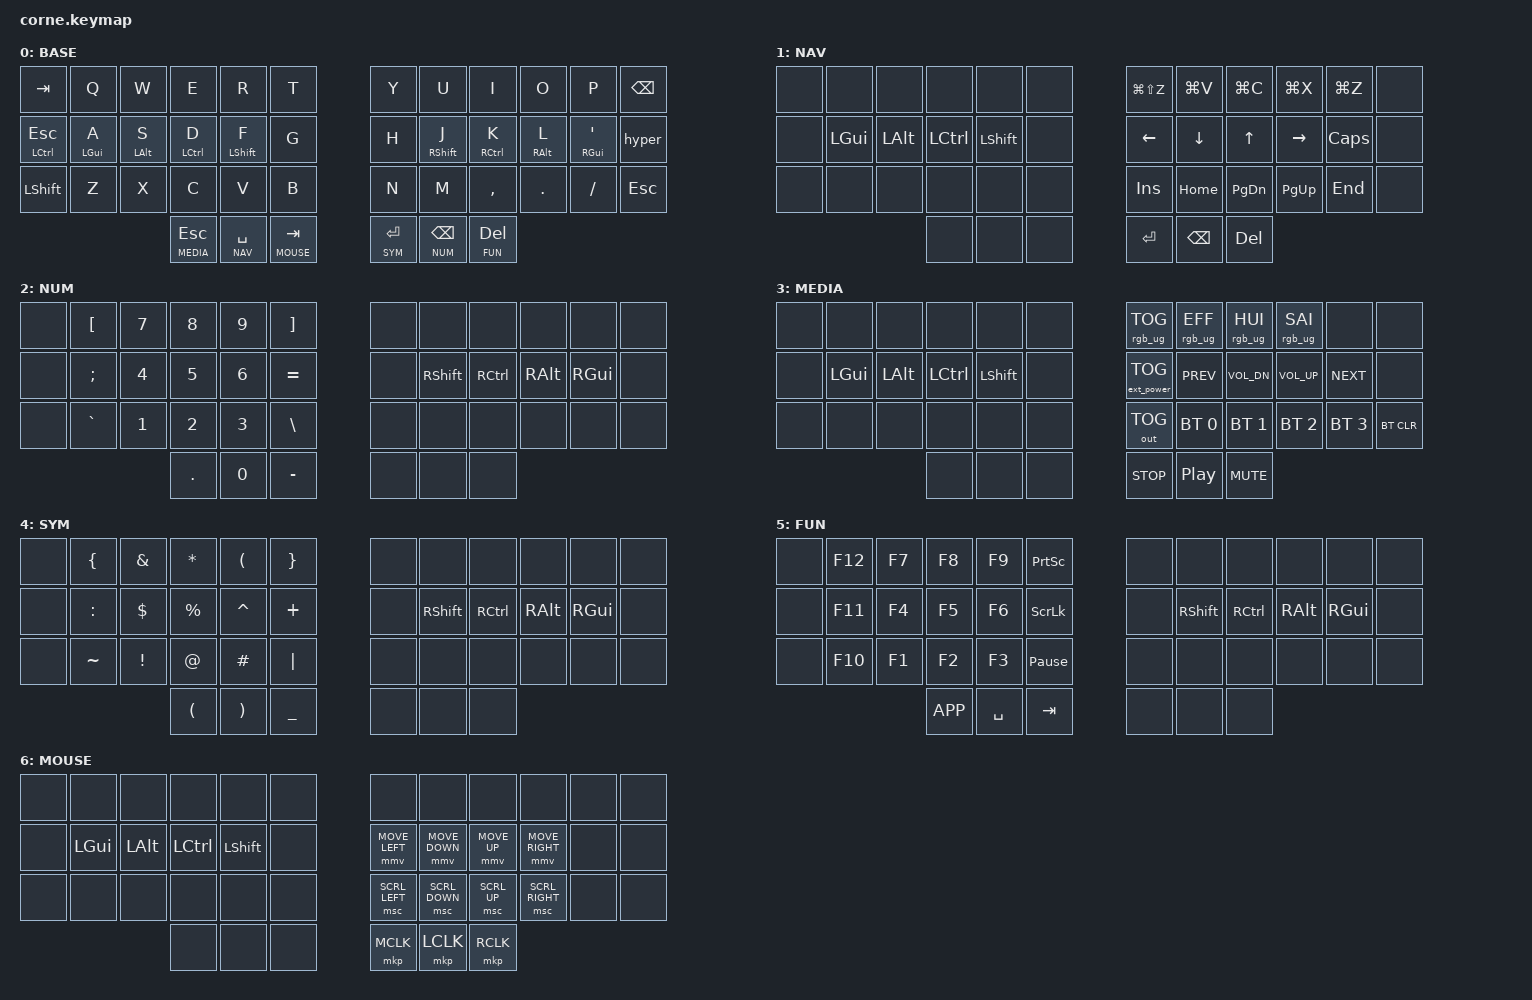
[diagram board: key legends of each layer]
/*
 * Copyright (c) 2020 The ZMK Contributors
 *
 * SPDX-License-Identifier: MIT
 */

//
//   Miryoku-style layout — QWERTY base, vim arrows (HJKL), GACS home row mods
//   Adapted from TOTEM config for Corne (42-key)
//
//   Layer 0: BASE    — QWERTY + home row mods
//   Layer 1: NAV     — vim arrows, clipboard, nav (hold SPACE)
//   Layer 2: NUM     — numpad left hand (hold BSPC)
//   Layer 3: MEDIA   — media, BT, RGB (hold ESC)
//   Layer 4: SYM     — symbols left hand (hold ENTER)
//   Layer 5: FUN     — function keys left hand (hold DEL)
//   Layer 6: MOUSE   — mouse movement, scroll, buttons (hold TAB)

#include <behaviors.dtsi>
#include <dt-bindings/zmk/bt.h>
#include <dt-bindings/zmk/ext_power.h>
#include <dt-bindings/zmk/keys.h>
#include <dt-bindings/zmk/outputs.h>
#include <dt-bindings/zmk/pointing.h>
#include <dt-bindings/zmk/rgb.h>

#define BASE  0
#define NAV   1
#define NUM   2
#define MEDIA 3
#define SYM   4
#define FUN   5
#define MOUSE 6

// Corne key positions (42 keys):
// Row 0:  0  1  2  3  4  5    6  7  8  9  10  11
// Row 1: 12 13 14 15 16 17   18 19 20 21  22  23
// Row 2: 24 25 26 27 28 29   30 31 32 33  34  35
// Thumb:          36 37 38   39 40 41

&lt {
    flavor = "balanced";
    tapping-term-ms = <200>;
    quick-tap-ms = <175>;
};

/ {
    behaviors {
        hm: homerow_mod {
            compatible = "zmk,behavior-hold-tap";
            #binding-cells = <2>;
            bindings = <&kp>, <&kp>;
            flavor = "balanced";
            tapping-term-ms = <200>;
            quick-tap-ms = <175>;
            require-prior-idle-ms = <100>;
        };

        hms: homerow_mod_shift {
            compatible = "zmk,behavior-hold-tap";
            #binding-cells = <2>;
            bindings = <&kp>, <&kp>;
            flavor = "balanced";
            tapping-term-ms = <200>;
            quick-tap-ms = <175>;
        };
    };

    combos {
        compatible = "zmk,combos";

        combo_caps_word {
            bindings = <&caps_word>;
            key-positions = <16 19>;        // F + J (index home row)
            timeout-ms = <50>;
            require-prior-idle-ms = <200>;
        };
    };

    macros {
        hyper: hyper {
            compatible = "zmk,behavior-macro";
            #binding-cells = <0>;
            bindings =
                <&macro_press &kp LGUI &kp LALT &kp LCTRL &kp LSHFT>,
                <&macro_pause_for_release>,
                <&macro_release &kp LGUI &kp LALT &kp LCTRL &kp LSHFT>;
        };
    };

    keymap {
        compatible = "zmk,keymap";

        base_layer {
            display-name = "BASE";
            bindings = <
&kp TAB        &kp Q       &kp W       &kp E         &kp R         &kp T          &kp Y       &kp U         &kp I         &kp O        &kp P        &kp BSPC
&mt LCTRL ESC  &hm LGUI A  &hm LALT S  &hm LCTRL D   &hms LSHFT F  &kp G          &kp H       &hms RSHFT J  &hm RCTRL K   &hm RALT L   &hm RGUI SQT &hyper
&kp LSHFT      &kp Z       &kp X       &kp C         &kp V         &kp B          &kp N       &kp M         &kp COMMA     &kp DOT      &kp FSLH     &kp ESC
                                        &lt MEDIA ESC &lt NAV SPACE &lt MOUSE TAB  &lt SYM RET &lt NUM BSPC  &lt FUN DEL
            >;
        };

        nav_layer {
            display-name = "NAV";
            bindings = <
&none          &none       &none       &none         &none         &none          &kp LG(LS(Z)) &kp LG(V)   &kp LG(C)     &kp LG(X)    &kp LG(Z)    &none
&none          &kp LGUI    &kp LALT    &kp LCTRL     &kp LSHFT     &none          &kp LEFT    &kp DOWN      &kp UP        &kp RIGHT    &kp CAPS     &none
&none          &none       &none       &none         &none         &none          &kp INS     &kp HOME      &kp PG_DN     &kp PG_UP    &kp END      &none
                                       &none         &none         &none          &kp RET     &kp BSPC      &kp DEL
            >;
        };

        num_layer {
            display-name = "NUM";
            bindings = <
&none          &kp LBKT    &kp N7      &kp N8        &kp N9        &kp RBKT       &none       &none         &none         &none        &none        &none
&none          &kp SEMI    &kp N4      &kp N5        &kp N6        &kp EQUAL      &none       &kp RSHFT     &kp RCTRL     &kp RALT     &kp RGUI     &none
&none          &kp GRAVE   &kp N1      &kp N2        &kp N3        &kp BSLH       &none       &none         &none         &none        &none        &none
                                       &kp DOT       &kp N0        &kp MINUS      &none       &none         &none
            >;
        };

        media_layer {
            display-name = "MEDIA";
            bindings = <
&none          &none       &none       &none         &none         &none          &rgb_ug RGB_TOG &rgb_ug RGB_EFF &rgb_ug RGB_HUI &rgb_ug RGB_SAI &none      &none
&none          &kp LGUI    &kp LALT    &kp LCTRL     &kp LSHFT     &none          &ext_power EP_TOG &kp C_PREV  &kp C_VOL_DN  &kp C_VOL_UP &kp C_NEXT   &none
&none          &none       &none       &none         &none         &none          &out OUT_TOG &bt BT_SEL 0  &bt BT_SEL 1  &bt BT_SEL 2 &bt BT_SEL 3 &bt BT_CLR
                                       &none         &none         &none          &kp C_STOP  &kp C_PP      &kp C_MUTE
            >;
        };

        sym_layer {
            display-name = "SYM";
            bindings = <
&none          &kp LBRC    &kp AMPS    &kp ASTRK     &kp LPAR      &kp RBRC       &none       &none         &none         &none        &none        &none
&none          &kp COLON   &kp DLLR    &kp PRCNT     &kp CARET     &kp PLUS       &none       &kp RSHFT     &kp RCTRL     &kp RALT     &kp RGUI     &none
&none          &kp TILDE   &kp EXCL    &kp AT        &kp HASH      &kp PIPE       &none       &none         &none         &none        &none        &none
                                       &kp LPAR      &kp RPAR      &kp UNDER      &none       &none         &none
            >;
        };

        fun_layer {
            display-name = "FUN";
            bindings = <
&none          &kp F12     &kp F7      &kp F8        &kp F9        &kp PSCRN      &none       &none         &none         &none        &none        &none
&none          &kp F11     &kp F4      &kp F5        &kp F6        &kp SLCK       &none       &kp RSHFT     &kp RCTRL     &kp RALT     &kp RGUI     &none
&none          &kp F10     &kp F1      &kp F2        &kp F3        &kp PAUSE_BREAK &none      &none         &none         &none        &none        &none
                                       &kp K_APP     &kp SPACE     &kp TAB        &none       &none         &none
            >;
        };

        mouse_layer {
            display-name = "MOUSE";
            bindings = <
&none          &none       &none       &none         &none         &none          &none            &none            &none          &none             &none        &none
&none          &kp LGUI    &kp LALT    &kp LCTRL     &kp LSHFT     &none          &mmv MOVE_LEFT   &mmv MOVE_DOWN   &mmv MOVE_UP   &mmv MOVE_RIGHT   &none        &none
&none          &none       &none       &none         &none         &none          &msc SCRL_LEFT   &msc SCRL_DOWN   &msc SCRL_UP   &msc SCRL_RIGHT   &none        &none
                                       &none         &none         &none          &mkp MCLK        &mkp LCLK        &mkp RCLK
            >;
        };
    };
};
